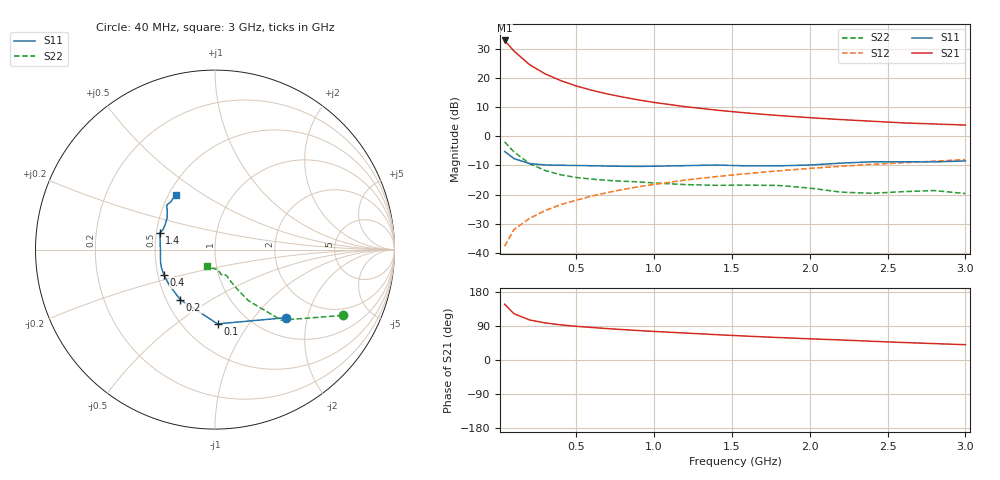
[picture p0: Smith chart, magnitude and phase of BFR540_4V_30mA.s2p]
! Filename:  BFR540D.S2P  Version:  3.0
! Philips part #: BFR540  Date: Feb 1992
! Bias condition: Vce=4V, Ic=30mA
#  MHz  S  MA  R  50
! Freq  S11  S21  S12  S22  !GUM [dB]
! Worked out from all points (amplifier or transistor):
!   21 points, 40 MHz to 3 GHz, reference 50 ohm
!   highest |S21| = 32.9 dB at 40 MHz (marker M1)
!   |S21| within 3 dB of that: start of sweep to 89.64 MHz
!   unconditionally stable (mu >= 1): 661 MHz to 2.82 GHz
!   at 300 MHz: K = 0.90, MSG = 23.5 dB, |S12| = -25.5 dB
!   at 1 GHz: K = 1.02, MAG = 13.1 dB, |S12| = -16.5 dB
!   at 3 GHz: K = 0.99, MSG = 5.9 dB, |S12| = -8.0 dB
!   lowest NFmin = 1.70 dB at 900 MHz
!   S11 on the Smith chart (normalised r, x): 40 MHz: 1.38, -1.49; 100 MHz: 0.73, -0.72; 200 MHz: 0.59, -0.37; 400 MHz: 0.54, -0.17; 1.4 GHz: 0.52, +0.11; 3 GHz: 0.54, +0.39
40  0.549 -43.7  44.03 147.1  0.013 73.4  0.8 -27.3
100  0.414 -88.0  29 122.2  0.025 65.3  0.539 -46.8
200  0.34 -124.7  16.94 105.7  0.039 66.6  0.34 -56.8
300  0.322 -142.7  11.78 97.9  0.053 68.9  0.259 -60.3
400  0.318 -153.6  9.018 92.8  0.067 70.2  0.218 -62.4
500  0.315 -160.9  7.295 88.9  0.08 71.3  0.196 -63.8
600  0.312 -166.2  6.15 85.8  0.094 71.6  0.184 -64.6
700  0.308 -171.0  5.32 82.9  0.108 71.8  0.175 -65.1
800  0.305 -175.4  4.706 80.2  0.122 71.7  0.169 -65.1
900  0.304 179.7  4.206 77.7  0.136 71.4  0.165 -65.4
1000  0.306 175.6  3.806 75.4  0.149 70.9  0.158 -66.1
1200  0.313 168.0  3.22 71.1  0.177 69.8  0.148 -69.4
1400  0.321 163.2  2.807 66.9  0.203 68.4  0.144 -73.7
1600  0.31 158.8  2.502 62.9  0.229 67.1  0.145 -74.2
1800  0.311 153.2  2.268 59.3  0.255 65.6  0.143 -76.3
2000  0.321 145.9  2.083 55.9  0.281 64.0  0.129 -78.1
2200  0.346 140.2  1.933 52.9  0.305 62.5  0.11 -85.0
2400  0.364 137.8  1.81 49.4  0.33 60.7  0.105 -98.2
2600  0.365 136.5  1.695 46.2  0.351 58.9  0.112 -108.3
2800  0.363 132.5  1.624 43.3  0.374 57.3  0.117 -111.4
3000  0.377 125.6  1.557 40.4  0.397 55.5  0.104 -115.2
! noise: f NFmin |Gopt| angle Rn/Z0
900  1.7  0.252  172  0.12
2000  2.4  0.435  -142  0.19
